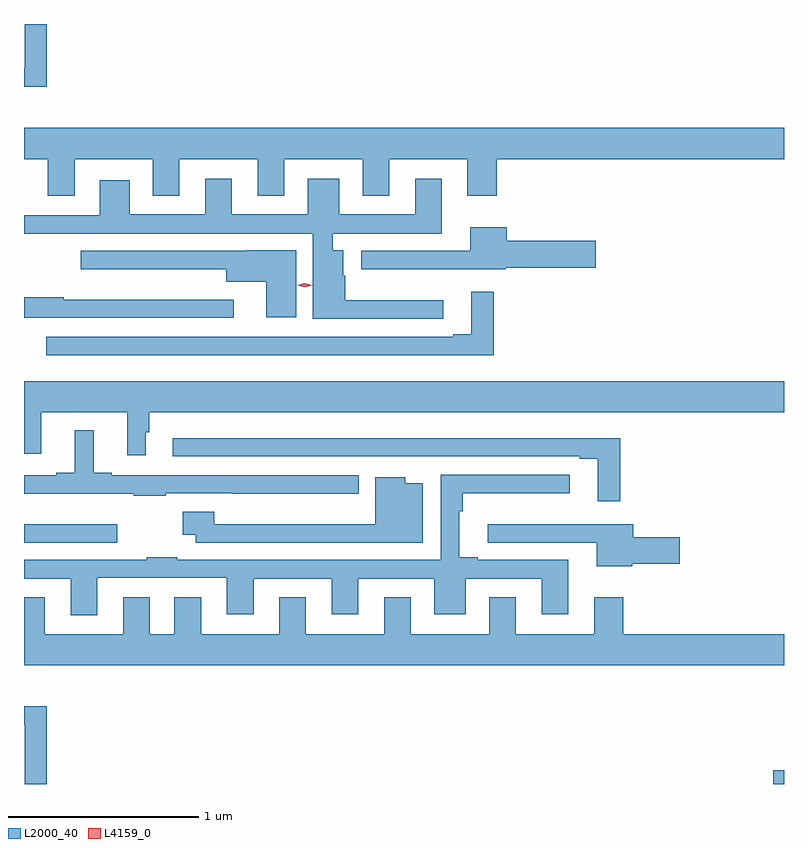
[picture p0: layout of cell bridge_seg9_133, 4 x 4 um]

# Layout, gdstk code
import gdstk
lib = gdstk.Library(unit=1e-6, precision=1e-09)
def R(c, l, rs):  # rectangles x0, y0, x1, y1
    for r in rs: c.add(gdstk.rectangle(r[:2], r[2:], *l))
def P(c, l, *ps):  # polygons
    for p in ps: c.add(gdstk.Polygon(p, *l))
L2000_40 = (2000, 40)
L4159_0 = (4159, 0)

bridge_seg9_133 = lib.new_cell('bridge_seg9_133')
R(bridge_seg9_133, L2000_40, [(450.828,1202.455,450.885,1202.528), (446.885,1203.726,447.376,1203.823)])
P(bridge_seg9_133, L2000_40, [(447.005,1206.455),(446.889,1206.455),(446.889,1206.222),(446.885,1206.222),(446.885,1206.125),(447.005,1206.125)],
  [(447.151,1205.744),(447.563,1205.744),(447.563,1205.55),(447.703,1205.55),(447.703,1205.744),(448.115,1205.744),(448.115,1205.55),(448.255,1205.55),(448.255,1205.744),(448.667,1205.744),(448.667,1205.55),(448.807,1205.55),(448.807,1205.744),(449.219,1205.744),(449.219,1205.55),(449.372,1205.55),(449.372,1205.744),(450.885,1205.744),(450.885,1205.908),(446.885,1205.908),(446.885,1205.744),(447.011,1205.744),(447.011,1205.55),(447.151,1205.55)],
  [(449.092,1205.002),(448.577,1205.002),(448.577,1205.129),(448.564,1205.129),(448.564,1205.263),(448.51,1205.263),(448.51,1205.352),(449.083,1205.352),(449.083,1205.641),(448.943,1205.641),(448.943,1205.453),(448.543,1205.453),(448.543,1205.641),(448.379,1205.641),(448.379,1205.453),(447.979,1205.453),(447.979,1205.641),(447.839,1205.641),(447.839,1205.453),(447.442,1205.453),(447.442,1205.632),(447.284,1205.632),(447.284,1205.448),(446.885,1205.448),(446.885,1205.352),(448.406,1205.352),(448.406,1204.905),(449.092,1204.905)],
  [(449.421,1205.171),(449.893,1205.171),(449.893,1205.313),(449.425,1205.313),(449.425,1205.386),(449.234,1205.386),(449.234,1205.262),(448.659,1205.262),(448.659,1205.165),(449.421,1205.165)],
  [(448.318,1205.263),(448.054,1205.263),(448.054,1205.262),(447.183,1205.262),(447.183,1205.165),(447.95,1205.165),(447.95,1205.099),(448.16,1205.099),(448.16,1204.911),(448.318,1204.911)],
  [(449.357,1205.047),(449.24,1205.047),(449.24,1204.822),(449.144,1204.822),(449.144,1204.809),(447.003,1204.809),(447.003,1204.712),(449.357,1204.712)],
  [(447.988,1205.005),(447.095,1205.005),(447.095,1205.017),(446.885,1205.017),(446.885,1204.908),(447.988,1204.908)],
  [(447.526,1204.307),(447.545,1204.307),(447.545,1204.412),(450.885,1204.412),(450.885,1204.576),(446.885,1204.576),(446.885,1204.194),(446.975,1204.194),(446.975,1204.412),(447.428,1204.412),(447.428,1204.185),(447.526,1204.185)],
  [(447.632,1203.984),(447.982,1203.984),(447.982,1203.983),(448.648,1203.983),(448.648,1204.08),(447.346,1204.08),(447.346,1204.093),(447.251,1204.093),(447.251,1204.318),(447.152,1204.318),(447.152,1204.093),(447.056,1204.093),(447.056,1204.08),(446.885,1204.08),(446.885,1203.983),(447.463,1203.983),(447.463,1203.972),(447.632,1203.972)],
  [(450.023,1204.276),(447.669,1204.276),(447.669,1204.179),(449.81,1204.179),(449.81,1204.167),(449.906,1204.167),(449.906,1203.942),(450.023,1203.942)],
  [(447.271,1203.54),(447.953,1203.54),(447.953,1203.348),(448.093,1203.348),(448.093,1203.535),(448.505,1203.535),(448.505,1203.348),(448.645,1203.348),(448.645,1203.535),(449.045,1203.535),(449.045,1203.348),(449.209,1203.348),(449.209,1203.535),(449.609,1203.535),(449.609,1203.348),(449.749,1203.348),(449.749,1203.636),(449.272,1203.636),(449.272,1203.649),(449.176,1203.649),(449.176,1203.89),(449.195,1203.89),(449.195,1203.986),(449.758,1203.986),(449.758,1204.083),(449.079,1204.083),(449.079,1203.636),(447.692,1203.636),(447.692,1203.649),(447.53,1203.649),(447.53,1203.636),(446.885,1203.636),(446.885,1203.535),(447.131,1203.535),(447.131,1203.342),(447.271,1203.342)],
  [(448.984,1204.039),(448.891,1204.039),(448.891,1204.069),(448.733,1204.069),(448.733,1203.823),(447.885,1203.823),(447.885,1203.889),(447.72,1203.889),(447.72,1203.767),(447.789,1203.767),(447.789,1203.726),(448.984,1203.726)],
  [(450.087,1203.613),(450.337,1203.613),(450.337,1203.755),(450.091,1203.755),(450.091,1203.823),(449.325,1203.823),(449.325,1203.726),(449.9,1203.726),(449.9,1203.602),(450.087,1203.602)],
  [(450.885,1203.244),(450.038,1203.244),(450.038,1203.439),(449.885,1203.439),(449.885,1203.244),(449.473,1203.244),(449.473,1203.439),(449.333,1203.439),(449.333,1203.244),(448.921,1203.244),(448.921,1203.439),(448.781,1203.439),(448.781,1203.244),(448.369,1203.244),(448.369,1203.439),(448.229,1203.439),(448.229,1203.244),(447.817,1203.244),(447.817,1203.439),(447.677,1203.439),(447.677,1203.244),(447.547,1203.244),(447.547,1203.439),(447.407,1203.439),(447.407,1203.244),(446.995,1203.244),(446.995,1203.439),(446.885,1203.439),(446.885,1203.08),(450.885,1203.08)],
  [(447.005,1202.864),(446.885,1202.864),(446.885,1202.766),(446.889,1202.766),(446.889,1202.455),(447.005,1202.455)])
P(bridge_seg9_133, L4159_0, [(448.362,1205.07),(448.323,1205.08),(448.322,1205.08),(448.323,1205.08),(448.362,1205.09),(448.402,1205.081),(448.402,1205.081),(448.402,1205.08)])

lib.write_gds('bridge_seg9_133.gds')
